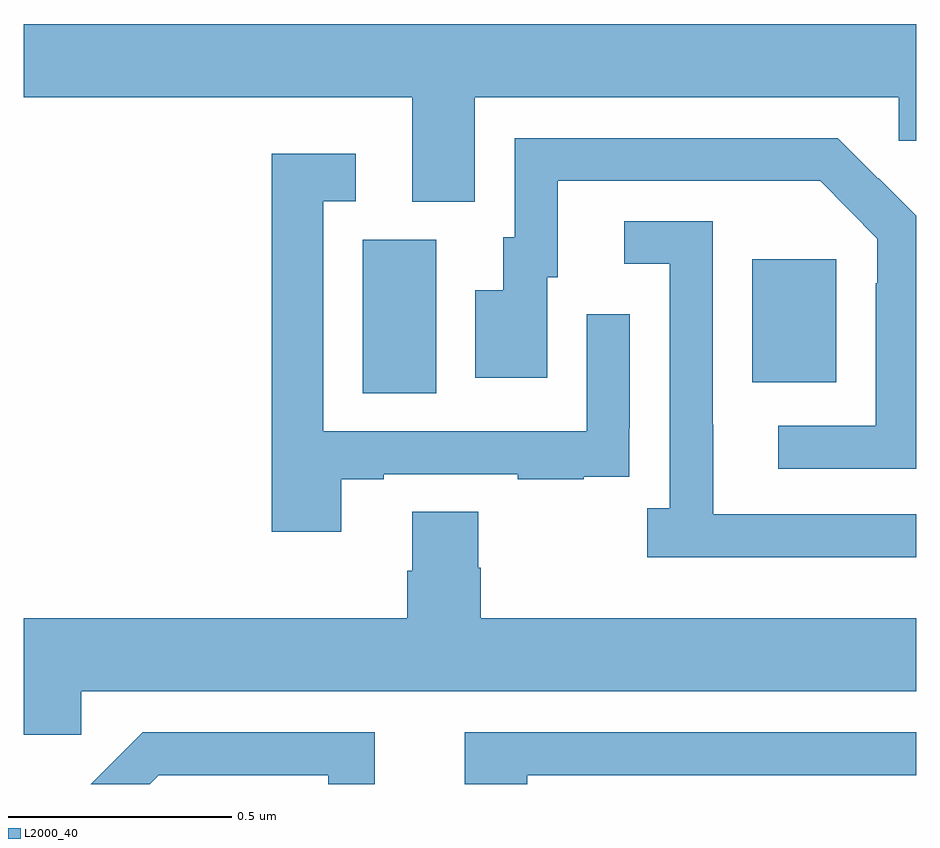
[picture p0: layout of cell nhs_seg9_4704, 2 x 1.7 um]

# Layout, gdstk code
import gdstk
lib = gdstk.Library(unit=1e-6, precision=1e-09)
def R(c, l, rs):  # rectangles x0, y0, x1, y1
    for r in rs: c.add(gdstk.rectangle(r[:2], r[2:], *l))
def P(c, l, *ps):  # polygons
    for p in ps: c.add(gdstk.Polygon(p, *l))
L2000_40 = (2000, 40)

nhs_seg9_4704 = lib.new_cell('nhs_seg9_4704')
R(nhs_seg9_4704, L2000_40, [(169.76,1242.376,169.924,1242.72), (170.633,1242.401,170.821,1242.676)])
P(nhs_seg9_4704, L2000_40, [(170.011,1243.04),(170.961,1243.04),(170.961,1242.942),(171,1242.942),(171,1243.204),(169,1243.204),(169,1243.04),(169.871,1243.04),(169.871,1242.805),(170.011,1242.805)],
  [(171,1242.774),(170.916,1242.858),(170.915,1242.857),(170.824,1242.948),(170.1,1242.948),(170.1,1242.726),(170.075,1242.726),(170.075,1242.607),(170.012,1242.607),(170.012,1242.411),(170.173,1242.411),(170.173,1242.636),(170.197,1242.636),(170.197,1242.852),(170.785,1242.852),(170.913,1242.723),(170.913,1242.623),(170.91,1242.623),(170.91,1242.303),(170.691,1242.303),(170.691,1242.207),(171,1242.207)],
  [(169.711,1242.183),(169.807,1242.183),(169.807,1242.195),(170.107,1242.195),(170.107,1242.183),(170.255,1242.183),(170.255,1242.189),(170.357,1242.189),(170.357,1242.298),(170.358,1242.298),(170.358,1242.553),(170.262,1242.553),(170.262,1242.291),(169.671,1242.291),(169.671,1242.807),(169.744,1242.807),(169.744,1242.913),(169.555,1242.913),(169.555,1242.066),(169.711,1242.066)],
  [(171,1242.105),(170.545,1242.105),(170.545,1242.305),(170.544,1242.305),(170.544,1242.762),(170.346,1242.762),(170.346,1242.666),(170.448,1242.666),(170.448,1242.118),(170.397,1242.118),(170.397,1242.008),(171,1242.008)],
  [(169.128,1241.708),(171,1241.708),(171,1241.872),(170.024,1241.872),(170.024,1241.985),(170.019,1241.985),(170.019,1242.11),(169.871,1242.11),(169.871,1241.978),(169.859,1241.978),(169.859,1241.872),(169,1241.872),(169,1241.61),(169.128,1241.61)],
  [(170.128,1241.52),(171,1241.52),(171,1241.616),(169.988,1241.616),(169.988,1241.5),(170.128,1241.5)],
  [(169.302,1241.52),(169.682,1241.52),(169.682,1241.5),(169.786,1241.5),(169.786,1241.616),(169.266,1241.616),(169.15,1241.5),(169.282,1241.5)])

lib.write_gds('nhs_seg9_4704.gds')
